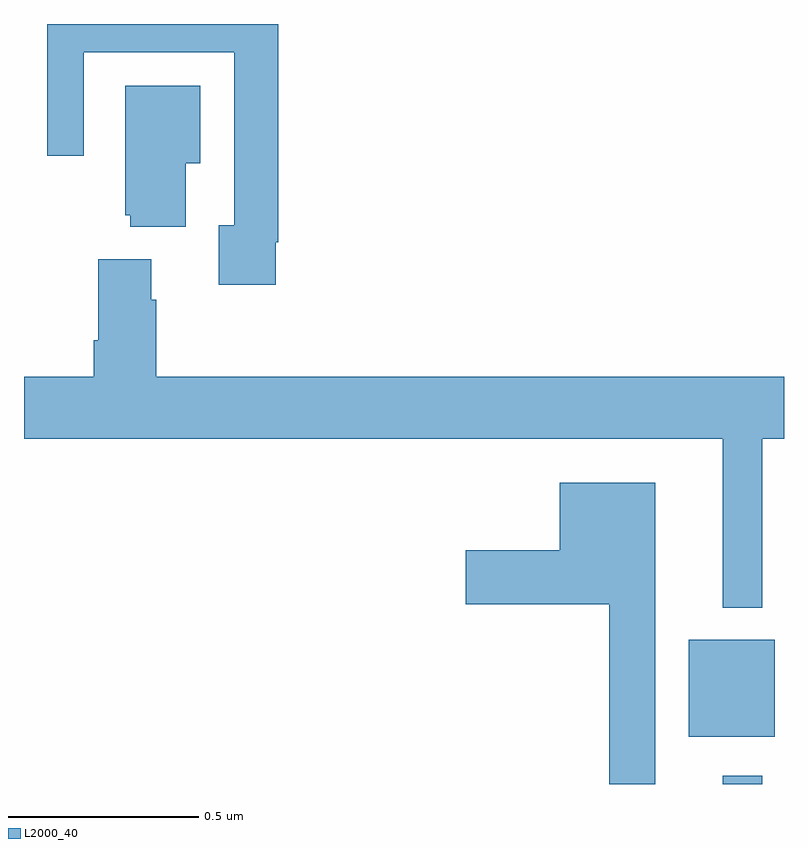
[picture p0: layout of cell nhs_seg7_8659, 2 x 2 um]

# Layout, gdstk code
import gdstk
lib = gdstk.Library(unit=1e-6, precision=1e-09)
def R(c, l, rs):  # rectangles x0, y0, x1, y1
    for r in rs: c.add(gdstk.rectangle(r[:2], r[2:], *l))
def P(c, l, *ps):  # polygons
    for p in ps: c.add(gdstk.Polygon(p, *l))
L2000_40 = (2000, 40)

nhs_seg7_8659 = lib.new_cell('nhs_seg7_8659')
R(nhs_seg7_8659, L2000_40, [(228.839,1041,228.943,1041.022), (228.749,1041.125,228.976,1041.379)])
P(nhs_seg7_8659, L2000_40, [(227.662,1042.426),(227.669,1042.426),(227.669,1043),(227.061,1043),(227.061,1042.653),(227.157,1042.653),(227.157,1042.926),(227.553,1042.926),(227.553,1042.47),(227.513,1042.47),(227.513,1042.314),(227.662,1042.314)],
  [(227.425,1042.634),(227.464,1042.634),(227.464,1042.837),(227.267,1042.837),(227.267,1042.497),(227.279,1042.497),(227.279,1042.466),(227.425,1042.466)],
  [(227.348,1042.274),(227.335,1042.274),(227.335,1042.381),(227.195,1042.381),(227.195,1042.168),(227.183,1042.168),(227.183,1042.072),(227,1042.072),(227,1041.908),(228.839,1041.908),(228.839,1041.464),(228.943,1041.464),(228.943,1041.908),(229,1041.908),(229,1042.072),(227.348,1042.072)],
  [(228.661,1041.793),(228.41,1041.793),(228.41,1041.615),(228.162,1041.615),(228.162,1041.473),(228.54,1041.473),(228.54,1041),(228.661,1041)])

lib.write_gds('nhs_seg7_8659.gds')
